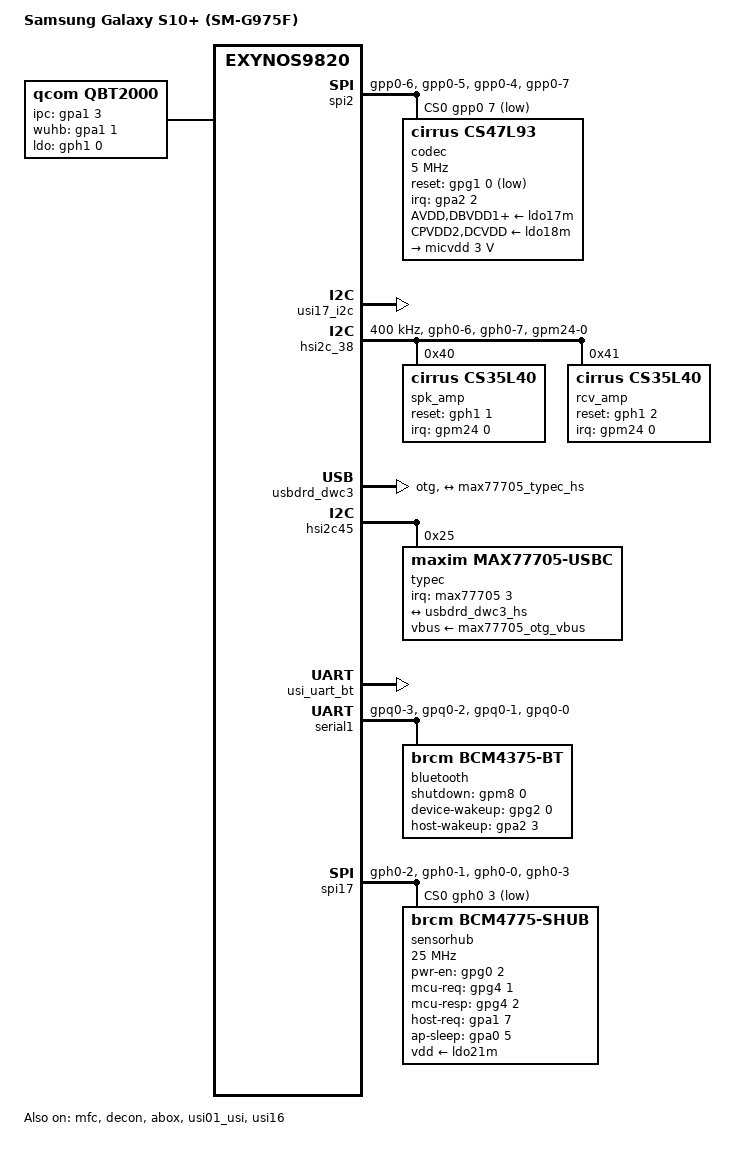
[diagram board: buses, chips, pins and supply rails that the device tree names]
// SPDX-License-Identifier: GPL-2.0 OR BSD-3-Clause
/*
 * Samsung Galaxy S10+ (beyond2lte/SM-G975F) device tree source
 *
 * Copyright (c) 2026 chiffathefox <chiffathefoxx@gmail.com>
 */

/dts-v1/;
#include <dt-bindings/usb/pd.h>
#include "exynos9820-common.dtsi"

/ {
	model = "Samsung Galaxy S10+ (SM-G975F)";
	compatible = "samsung,beyond2lte", "samsung,exynos9820";
	chassis-type = "handset";

	/* Real DRAM layout measured from the recovery kernel (/proc/iomem).
	 * Holes between banks: S-Boot/loader remnants and modem carveouts. */
	memory@80000000 {
		device_type = "memory";
		reg = <0x0 0x80000000 0x3ab00000>,
		      <0x0 0xc0000000 0x20000000>,
		      <0x0 0xe1900000 0x1e700000>,
		      <0x8 0x80000000 0x80000000>,
		      <0x9 0x00000000 0x80000000>,
		      <0x9 0x80000000 0x80000000>;
	};

	chosen {
		/* Android boot args. S-Boot normally supplies these; uniLoader
		 * passes only our DTB, so they live here. hardware=exynos9820
		 * matches the ROM's fstab.exynos9820 (Samsung platform name). */
		bootargs = "console=tty0 loglevel=4 printk.devkmsg=on androidboot.hardware=exynos9820 androidboot.super_partition=system androidboot.boot_devices=soc@0/13d60000.ufs androidboot.verifiedbootstate=orange androidboot.selinux=permissive androidboot.serialno=beyond2lte001 firmware_class.path=/vendor/firmware brcmfmac.roamoff=1 brcmfmac.host_wake=gpa0:7 pd_ignore_unused clk_ignore_unused";

		framebuffer0: framebuffer@ca000000 {
			compatible = "simple-framebuffer";
			reg = <0x0 0xca000000 (1440 * 3040 * 4)>;
			width = <1440>;
			height = <3040>;
			stride = <(1440 * 4)>;
			/* Hardware FB is XRGB8888; declare a8b8g8r8 so simpledrm's
			 * xrgb8888_to_abgr8888 blit swaps Android's RGBA R<->B channels. */
			format = "a8b8g8r8";
			panel = <&panel>;

			/* Dummy panel for simple-framebuffer dimension info */
			panel: dummy-panel {
				width-mm = <70>;
				height-mm = <147>;
			};
		};
	};
	reserved-memory {
		/*
		 * IOVA only: the MFC's window is stock's [0x10000000,
		 * 0xd0000000) (s5p-mfc puts the firmware at its start).
		 */
		mfc_iova: mfc-iova-reserved {
			iommu-addresses = <&mfc 0x0 0x10000000>,
					  <&mfc 0xd0000000 0x30000000>;
		};
	};
};

&mfc {
	memory-region = <&mfc_iova>;
	status = "okay";
};

&battery {
	compatible = "simple-battery";
	constant-charge-current-max-microamp = <2850000>;
	charge-full-design-microamp-hours = <4000000>;
};

&decon {
	memory-region = <&fb_region>;
	width-mm = <70>;
	height-mm = <147>;
	status = "okay";
};

&pinctrl_alive {
	codec_irq: codec-irq-pins {
		samsung,pins = "gpa2-2";
		samsung,pin-function = <EXYNOS_PIN_FUNC_EINT>;
		samsung,pin-pud = <EXYNOS_PIN_PULL_NONE>;
	};
};

&pinctrl_cmgp {
	amp_irq: amp-irq-pins {
		samsung,pins = "gpm24-0";
		samsung,pin-function = <EXYNOS_PIN_FUNC_EINT>;
		samsung,pin-pud = <EXYNOS_PIN_PULL_NONE>;
	};
};

&pinctrl_peric0 {
	spi2_bus: spi2-bus-pins {
		samsung,pins = "gpp0-6", "gpp0-5", "gpp0-4";
		samsung,pin-function = <EXYNOS_PIN_FUNC_2>;
		samsung,pin-pud = <EXYNOS_PIN_PULL_NONE>;
		samsung,pin-drv = <0>;
	};

	spi2_cs: spi2-cs-pins {
		samsung,pins = "gpp0-7";
		samsung,pin-function = <EXYNOS_PIN_FUNC_OUTPUT>;
		samsung,pin-pud = <EXYNOS_PIN_PULL_UP>;
		samsung,pin-drv = <0>;
	};

	codec_reset: codec-reset-pins {
		samsung,pins = "gpg1-0";
		samsung,pin-function = <EXYNOS_PIN_FUNC_OUTPUT>;
		samsung,pin-pud = <EXYNOS_PIN_PULL_NONE>;
	};
};

&pinctrl_peric1 {
	hsi2c38_bus: hsi2c38-bus-pins {
		samsung,pins = "gph0-6", "gph0-7";
		samsung,pin-function = <EXYNOS_PIN_FUNC_3>;
		samsung,pin-pud = <EXYNOS_PIN_PULL_NONE>;
		samsung,pin-drv = <0>;
	};

	spk_amp_reset: spk-amp-reset-pins {
		samsung,pins = "gph1-1";
		samsung,pin-function = <EXYNOS_PIN_FUNC_OUTPUT>;
		samsung,pin-pud = <EXYNOS_PIN_PULL_NONE>;
	};

	rcv_amp_reset: rcv-amp-reset-pins {
		samsung,pins = "gph1-2";
		samsung,pin-function = <EXYNOS_PIN_FUNC_OUTPUT>;
		samsung,pin-pud = <EXYNOS_PIN_PULL_NONE>;
	};
};

&pinctrl_aud {
	uaif0_bus: uaif0-bus-pins {
		samsung,pins = "gpb0-1", "gpb0-2", "gpb0-3", "gpb0-4";
		samsung,pin-function = <EXYNOS_PIN_FUNC_2>;
		samsung,pin-pud = <EXYNOS_PIN_PULL_DOWN>;
	};

	uaif0_idle: uaif0-idle-pins {
		samsung,pins = "gpb0-1", "gpb0-2", "gpb0-3", "gpb0-4";
		samsung,pin-function = <EXYNOS_PIN_FUNC_INPUT>;
		samsung,pin-pud = <EXYNOS_PIN_PULL_DOWN>;
	};

	uaif1_bus: uaif1-bus-pins {
		samsung,pins = "gpb1-0", "gpb1-1", "gpb1-2", "gpb1-3";
		samsung,pin-function = <EXYNOS_PIN_FUNC_2>;
		samsung,pin-pud = <EXYNOS_PIN_PULL_DOWN>;
	};

	uaif1_idle: uaif1-idle-pins {
		samsung,pins = "gpb1-0", "gpb1-1", "gpb1-2", "gpb1-3";
		samsung,pin-function = <EXYNOS_PIN_FUNC_INPUT>;
		samsung,pin-pud = <EXYNOS_PIN_PULL_DOWN>;
	};
};

&abox {
	memory-region = <&abox_fw_mem>;
	pinctrl-names = "active", "idle";
	pinctrl-0 = <&uaif0_bus &uaif1_bus>;
	pinctrl-1 = <&uaif0_idle &uaif1_idle>;
	status = "okay";
};

&usi01_usi {
	samsung,mode = <USI_MODE_SPI>;
	status = "okay";
};

&spi2 {
	pinctrl-names = "default";
	pinctrl-0 = <&spi2_bus &spi2_cs>;
	cs-gpios = <&gpp0 7 GPIO_ACTIVE_LOW>;
	status = "okay";

	codec: codec@0 {
		compatible = "cirrus,cs47l93";
		reg = <0>;
		spi-max-frequency = <5000000>;

		pinctrl-names = "default";
		pinctrl-0 = <&codec_reset &codec_irq>;
		reset-gpios = <&gpg1 0 GPIO_ACTIVE_LOW>;

		interrupt-controller;
		#interrupt-cells = <2>;
		interrupts-extended = <&gpa2 2 IRQ_TYPE_LEVEL_LOW>;

		gpio-controller;
		#gpio-cells = <2>;
		#sound-dai-cells = <1>;

		AVDD-supply = <&ldo17m>;
		DBVDD1-supply = <&ldo17m>;
		CPVDD1-supply = <&ldo17m>;
		CPVDD2-supply = <&ldo18m>;
		DCVDD-supply = <&ldo18m>;

		clocks = <&pmu_system_controller 0>;
		clock-names = "mclk1";
		assigned-clocks = <&pmu_system_controller 0>;
		assigned-clock-parents = <&oscclk>;

		cirrus,dmic-ref = <0 0 1 1>;
		cirrus,inmode = <0 0 0 0
				 0 0 1 1>;
		cirrus,out-mono = <0 0 0 1 0 0>;

		micvdd {
			regulator-min-microvolt = <3000000>;
			regulator-max-microvolt = <3000000>;
		};

		codec_aif1: pin-settings {
			aif1-pins {
				groups = "aif1";
				function = "aif1";
				bias-bus-hold;
			};
		};
	};
};

&usi17_i2c {
	samsung,mode = <USI_MODE_I2C>;
	status = "okay";
};

&hsi2c_38 {
	clock-frequency = <400000>;
	pinctrl-names = "default";
	pinctrl-0 = <&hsi2c38_bus &amp_irq>;
	status = "okay";

	spk_amp: amplifier@40 {
		compatible = "cirrus,cs35l40";
		reg = <0x40>;
		#sound-dai-cells = <1>;
		sound-name-prefix = "SPK";

		pinctrl-names = "default";
		pinctrl-0 = <&spk_amp_reset>;
		reset-gpios = <&gph1 1 GPIO_ACTIVE_HIGH>;
		interrupts-extended = <&gpm24 0 IRQ_TYPE_LEVEL_LOW>;

		cirrus,boost-type = <0>;
		cirrus,boost-peak-milliamp = <4100>;
		cirrus,boost-ind-nanohenry = <1000>;
		cirrus,boost-cap-microfarad = <15>;
		cirrus,asp-sdout-hiz = <3>;
	};

	rcv_amp: amplifier@41 {
		compatible = "cirrus,cs35l40";
		reg = <0x41>;
		#sound-dai-cells = <1>;
		sound-name-prefix = "RCV";

		pinctrl-names = "default";
		pinctrl-0 = <&rcv_amp_reset>;
		reset-gpios = <&gph1 2 GPIO_ACTIVE_HIGH>;
		interrupts-extended = <&gpm24 0 IRQ_TYPE_LEVEL_LOW>;

		cirrus,boost-type = <0>;
		cirrus,boost-peak-milliamp = <4100>;
		cirrus,boost-ind-nanohenry = <1000>;
		cirrus,boost-cap-microfarad = <15>;
		cirrus,asp-sdout-hiz = <3>;
	};
};

&pinctrl_alive {
	btp_ipc: btp-ipc-pins {
		samsung,pins = "gpa1-3";
		samsung,pin-function = <EXYNOS_PIN_FUNC_EINT>;
		samsung,pin-pud = <EXYNOS_PIN_PULL_UP>;
		samsung,pin-drv = <3>;
	};

	btp_wuhb: btp-wuhb-pins {
		samsung,pins = "gpa1-1";
		samsung,pin-function = <EXYNOS_PIN_FUNC_EINT>;
		samsung,pin-pud = <EXYNOS_PIN_PULL_DOWN>;
		samsung,pin-drv = <3>;
	};

	uart1_bus: uart1-bus-pins {
		samsung,pins = "gpq0-3", "gpq0-2", "gpq0-1", "gpq0-0";
		samsung,pin-function = <EXYNOS_PIN_FUNC_2>;
		samsung,pin-pud = <EXYNOS_PIN_PULL_UP>;
		samsung,pin-drv = <0>;
	};

	bt_hostwake: bt-hostwake-pins {
		samsung,pins = "gpa2-3";
		samsung,pin-function = <EXYNOS_PIN_FUNC_EINT>;
		samsung,pin-pud = <EXYNOS_PIN_PULL_DOWN>;
	};

	shub_host_req: shub-host-req-pins {
		samsung,pins = "gpa1-7";
		samsung,pin-function = <EXYNOS_PIN_FUNC_EINT>;
		samsung,pin-pud = <EXYNOS_PIN_PULL_DOWN>;
	};

	shub_ap_sleep: shub-ap-sleep-pins {
		samsung,pins = "gpa0-5";
		samsung,pin-function = <EXYNOS_PIN_FUNC_OUTPUT>;
		samsung,pin-pud = <EXYNOS_PIN_PULL_NONE>;
	};

	shub_int: shub-int-pins {
		samsung,pins = "gpa4-0";
		samsung,pin-function = <EXYNOS_PIN_FUNC_INPUT>;
		samsung,pin-pud = <EXYNOS_PIN_PULL_NONE>;
	};
};

&pinctrl_cmgp {
	bt_en: bt-en-pins {
		samsung,pins = "gpm8-0";
		samsung,pin-function = <EXYNOS_PIN_FUNC_OUTPUT>;
		samsung,pin-pud = <EXYNOS_PIN_PULL_NONE>;
	};
};

&pinctrl_peric0 {
	spi1_bus: spi1-bus-pins {
		samsung,pins = "gpp0-2", "gpp0-1", "gpp0-0";
		samsung,pin-function = <EXYNOS_PIN_FUNC_2>;
		samsung,pin-pud = <EXYNOS_PIN_PULL_DOWN>;
		samsung,pin-drv = <3>;
	};

	spi1_cs_func_high: spi1-cs-func-high-pins {
		samsung,pins = "gpp0-3";
		samsung,pin-function = <EXYNOS_PIN_FUNC_2>;
		samsung,pin-pud = <EXYNOS_PIN_PULL_NONE>;
		samsung,pin-drv = <3>;
		samsung,pin-val = <1>;
	};

	spi1_bus_sleep: spi1-bus-sleep-pins {
		samsung,pins = "gpp0-2", "gpp0-1", "gpp0-0";
		samsung,pin-function = <EXYNOS_PIN_FUNC_INPUT>;
		samsung,pin-pud = <EXYNOS_PIN_PULL_DOWN>;
		samsung,pin-drv = <3>;
	};

	spi1_cs: spi1-cs-pins {
		samsung,pins = "gpp0-3";
		samsung,pin-function = <EXYNOS_PIN_FUNC_OUTPUT>;
		samsung,pin-pud = <EXYNOS_PIN_PULL_NONE>;
		samsung,pin-drv = <0>;
	};

	bt_btwake: bt-btwake-pins {
		samsung,pins = "gpg2-0";
		samsung,pin-function = <EXYNOS_PIN_FUNC_OUTPUT>;
		samsung,pin-pud = <EXYNOS_PIN_PULL_NONE>;
	};

	shub_pwr_en: shub-pwr-en-pins {
		samsung,pins = "gpg0-2";
		samsung,pin-function = <EXYNOS_PIN_FUNC_OUTPUT>;
		samsung,pin-pud = <EXYNOS_PIN_PULL_DOWN>;
	};

	shub_mcu_req: shub-mcu-req-pins {
		samsung,pins = "gpg4-1";
		samsung,pin-function = <EXYNOS_PIN_FUNC_OUTPUT>;
		samsung,pin-pud = <EXYNOS_PIN_PULL_NONE>;
	};

	shub_mcu_resp: shub-mcu-resp-pins {
		samsung,pins = "gpg4-2";
		samsung,pin-function = <EXYNOS_PIN_FUNC_INPUT>;
		samsung,pin-pud = <EXYNOS_PIN_PULL_NONE>;
	};
};

&pinctrl_peric1 {
	btp_ldo: btp-ldo-pins {
		samsung,pins = "gph1-0";
		samsung,pin-function = <EXYNOS_PIN_FUNC_OUTPUT>;
		samsung,pin-pud = <EXYNOS_PIN_PULL_NONE>;
		samsung,pin-drv = <3>;
	};

	spi17_bus: spi17-bus-pins {
		samsung,pins = "gph0-2", "gph0-1", "gph0-0";
		samsung,pin-function = <EXYNOS_PIN_FUNC_2>;
		samsung,pin-pud = <EXYNOS_PIN_PULL_NONE>;
		samsung,pin-drv = <0>;
	};

	spi17_cs: spi17-cs-pins {
		samsung,pins = "gph0-3";
		samsung,pin-function = <EXYNOS_PIN_FUNC_OUTPUT>;
		samsung,pin-pud = <EXYNOS_PIN_PULL_UP>;
		samsung,pin-drv = <0>;
	};
};

&usbdrd_dwc3 {
	dr_mode = "otg";
	usb-role-switch;
	role-switch-default-mode = "peripheral";

	port {
		usbdrd_dwc3_hs: endpoint {
			remote-endpoint = <&max77705_typec_hs>;
		};
	};
};

&max77705_charger {
	max77705_otg_vbus: usb-otg-vbus {
		regulator-name = "usb_otg_vbus";
	};
};

&hsi2c45 {
	typec@25 {
		compatible = "maxim,max77705-usbc";
		reg = <0x25>;
		interrupt-parent = <&max77705>;
		interrupts = <3>;
		vbus-supply = <&max77705_otg_vbus>;
		maxim,charger = <&max77705_charger>;

		connector {
			compatible = "usb-c-connector";
			label = "USB-C";
			power-role = "dual";
			data-role = "dual";
			try-power-role = "sink";
			sink-pdos = <PDO_FIXED(5000, 3000, PDO_FIXED_DUAL_ROLE |
						PDO_FIXED_HIGHER_CAP |
						PDO_FIXED_USB_COMM |
						PDO_FIXED_DATA_SWAP)
				     PDO_FIXED(9000, 1670, 0)>;
			op-sink-microwatt = <15000000>;

			ports {
				#address-cells = <1>;
				#size-cells = <0>;

				port@0 {
					reg = <0>;

					max77705_typec_hs: endpoint {
						remote-endpoint = <&usbdrd_dwc3_hs>;
					};
				};
			};
		};
	};
};

&usi_uart_bt {
	samsung,mode = <USI_MODE_UART>;
	samsung,clkreq-on;
	status = "okay";
};

&serial1 {
	pinctrl-names = "default";
	pinctrl-0 = <&uart1_bus>;
	status = "okay";

	bluetooth {
		compatible = "brcm,bcm4375-bt";
		pinctrl-names = "default";
		pinctrl-0 = <&bt_en &bt_btwake &bt_hostwake>;
		shutdown-gpios = <&gpm8 0 GPIO_ACTIVE_HIGH>;
		device-wakeup-gpios = <&gpg2 0 GPIO_ACTIVE_HIGH>;
		host-wakeup-gpios = <&gpa2 3 GPIO_ACTIVE_HIGH>;
		max-speed = <3000000>;
	};
};

&usi16 {
	samsung,mode = <USI_MODE_SPI>;
	status = "okay";
};

&spi17 {
	pinctrl-names = "default";
	pinctrl-0 = <&spi17_bus &spi17_cs>;
	cs-gpios = <&gph0 3 GPIO_ACTIVE_LOW>;
	status = "okay";

	sensorhub@0 {
		compatible = "brcm,bcm4775-shub";
		reg = <0>;
		spi-max-frequency = <25000000>;
		spi-cpol;
		spi-cpha;

		pinctrl-names = "default";
		pinctrl-0 = <&shub_host_req &shub_ap_sleep &shub_int
			     &shub_pwr_en &shub_mcu_req &shub_mcu_resp>;
		vdd-supply = <&ldo21m>;
		pwr-en-gpios = <&gpg0 2 GPIO_ACTIVE_HIGH>;
		mcu-req-gpios = <&gpg4 1 GPIO_ACTIVE_HIGH>;
		mcu-resp-gpios = <&gpg4 2 GPIO_ACTIVE_HIGH>;
		host-req-gpios = <&gpa1 7 GPIO_ACTIVE_HIGH>;
		ap-sleep-gpios = <&gpa0 5 GPIO_ACTIVE_HIGH>;
	};
};

/ {
	qbt2000 {
		compatible = "qcom,qbt2000";
		qcom,ipc-gpios = <&gpa1 3 GPIO_ACTIVE_HIGH>;
		qcom,wuhb-gpios = <&gpa1 1 GPIO_ACTIVE_HIGH>;
		qcom,ldo-gpios = <&gph1 0 GPIO_ACTIVE_HIGH>;
		qcom,position = "13.83,0.00,9.00,4.00,14.80,14.80,13.00,13.00,5.00";
		qcom,modelinfo = "G97X";
		clock-names = "fp-spi-pclk", "fp-spi-sclk";
		clocks = <&cmu_peric0 CLK_GOUT_PERIC0_USI00_USI_PCLK>,
			 <&cmu_peric0 CLK_GOUT_PERIC0_USI00_USI_IPCLK>;
		pinctrl-names = "default", "pins_poweron", "pins_poweroff";
		pinctrl-0 = <&btp_ipc &btp_wuhb &btp_ldo>;
		pinctrl-1 = <&spi1_bus &spi1_cs_func_high>;
		pinctrl-2 = <&spi1_bus_sleep &spi1_cs>;
	};

	sound {
		compatible = "samsung,beyond0lte-madera";
		pinctrl-names = "default";
		pinctrl-0 = <&codec_aif1>;
		samsung,audio-codec = <&codec>;
		samsung,audio-cpu = <&abox>;
		samsung,speaker-amps = <&rcv_amp>, <&spk_amp>;
	};
};
